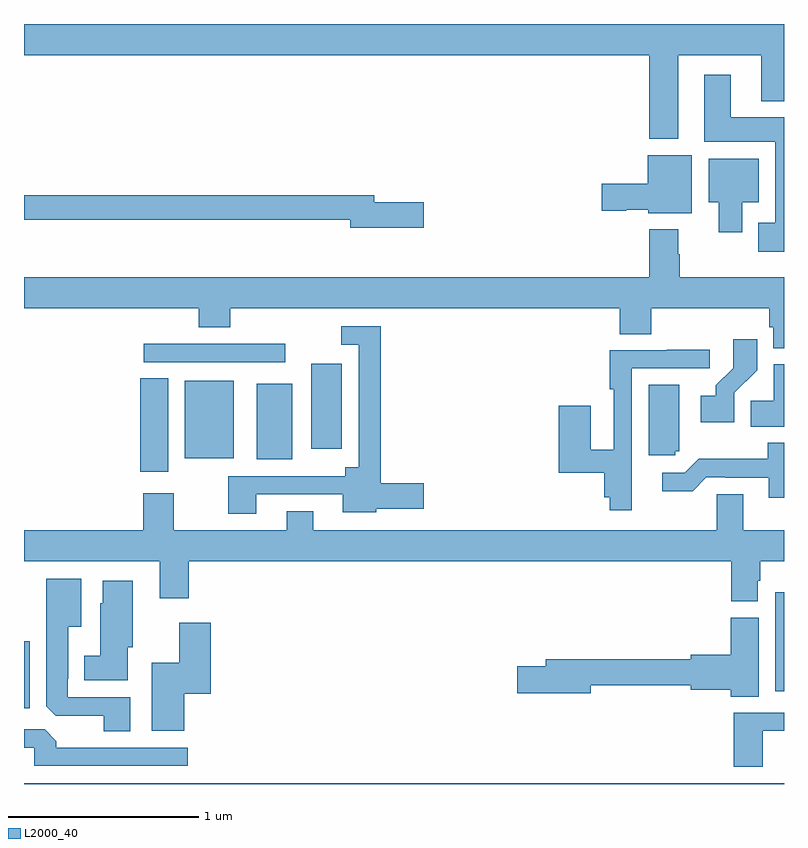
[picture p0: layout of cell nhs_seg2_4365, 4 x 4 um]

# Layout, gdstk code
import gdstk
lib = gdstk.Library(unit=1e-6, precision=1e-09)
def R(c, l, rs):  # rectangles x0, y0, x1, y1
    for r in rs: c.add(gdstk.rectangle(r[:2], r[2:], *l))
def P(c, l, *ps):  # polygons
    for p in ps: c.add(gdstk.Polygon(p, *l))
L2000_40 = (2000, 40)

nhs_seg2_4365 = lib.new_cell('nhs_seg2_4365')
R(nhs_seg2_4365, L2000_40, [(347,643.8,351,643.804), (347,644.198,347.029,644.551), (350.954,644.288,351,644.809), (347.612,645.444,347.758,645.935), (348.224,645.509,348.412,645.907), (347.846,645.515,348.103,645.922), (348.512,645.564,348.673,646.012), (347.631,646.02,348.376,646.116)])
P(nhs_seg2_4365, L2000_40, [(350.443,647.636),(350.879,647.636),(350.879,647.393),(351,647.393),(351,647.8),(347,647.8),(347,647.636),(350.291,647.636),(350.291,647.195),(350.443,647.195)],
  [(351,647.308),(350.719,647.308),(350.719,647.533),(350.579,647.533),(350.579,647.18),(350.954,647.18),(350.954,646.753),(350.864,646.753),(350.864,646.601),(351,646.601)],
  [(350.515,647.11),(350.282,647.11),(350.282,646.958),(350.04,646.958),(350.04,646.816),(350.169,646.816),(350.169,646.823),(350.286,646.823),(350.286,646.805),(350.515,646.805)],
  [(350.779,646.862),(350.866,646.862),(350.866,647.092),(350.603,647.092),(350.603,646.862),(350.657,646.862),(350.657,646.704),(350.779,646.704)],
  [(349.105,646.862),(348.844,646.862),(348.844,646.898),(347,646.898),(347,646.77),(348.716,646.77),(348.716,646.727),(349.105,646.727)],
  [(351,646.468),(350.451,646.468),(350.451,646.589),(350.443,646.589),(350.443,646.72),(350.291,646.72),(350.291,646.468),(347,646.468),(347,646.304),(347.921,646.304),(347.921,646.205),(348.086,646.205),(348.086,646.304),(350.135,646.304),(350.135,646.168),(350.3,646.168),(350.3,646.304),(350.923,646.304),(350.923,646.203),(350.943,646.203),(350.943,646.094),(351,646.094)],
  [(348.223,645.324),(348.677,645.324),(348.677,645.23),(348.855,645.23),(348.855,645.248),(349.105,645.248),(349.105,645.383),(348.878,645.383),(348.878,646.209),(348.669,646.209),(348.669,646.113),(348.762,646.113),(348.762,645.466),(348.692,645.466),(348.692,645.42),(348.076,645.42),(348.076,645.222),(348.223,645.222)],
  [(350.739,645.859),(350.858,645.978),(350.858,646.141),(350.733,646.141),(350.733,645.989),(350.642,645.899),(350.642,645.844),(350.562,645.844),(350.562,645.704),(350.739,645.704)],
  [(350.199,645.987),(350.608,645.987),(350.608,646.086),(350.383,646.086),(350.383,646.083),(350.083,646.083),(350.083,645.877),(350.103,645.877),(350.103,645.56),(349.984,645.56),(349.984,645.79),(349.814,645.79),(349.814,645.437),(350.054,645.437),(350.054,645.308),(350.083,645.308),(350.083,645.24),(350.199,645.24)],
  [(351,646.009),(350.945,646.009),(350.945,645.818),(350.824,645.818),(350.824,645.68),(351,645.68)],
  [(350.427,645.552),(350.449,645.552),(350.449,645.901),(350.288,645.901),(350.288,645.531),(350.427,645.531)],
  [(351,645.595),(350.914,645.595),(350.914,645.511),(350.551,645.511),(350.478,645.438),(350.358,645.438),(350.358,645.341),(350.519,645.341),(350.592,645.414),(350.692,645.414),(350.692,645.411),(350.921,645.411),(350.921,645.306),(351,645.306)],
  [(347.787,645.331),(347.627,645.331),(347.627,645.136),(347,645.136),(347,644.972),(347.714,644.972),(347.714,644.778),(347.867,644.778),(347.867,644.972),(350.723,644.972),(350.723,644.761),(350.863,644.761),(350.863,644.871),(350.876,644.871),(350.876,644.972),(351,644.972),(351,645.136),(350.785,645.136),(350.785,645.326),(350.646,645.326),(350.646,645.136),(348.523,645.136),(348.523,645.235),(348.383,645.235),(348.383,645.136),(347.787,645.136)],
  [(347.56,644.256),(347.229,644.256),(347.229,644.353),(347.233,644.353),(347.233,644.627),(347.302,644.627),(347.302,644.881),(347.117,644.881),(347.117,644.209),(347.166,644.16),(347.42,644.16),(347.42,644.077),(347.56,644.077)],
  [(347.545,644.52),(347.572,644.52),(347.572,644.869),(347.414,644.869),(347.414,644.751),(347.402,644.751),(347.402,644.476),(347.318,644.476),(347.318,644.345),(347.545,644.345)],
  [(350.866,644.676),(350.72,644.676),(350.72,644.48),(350.51,644.48),(350.51,644.456),(349.745,644.456),(349.745,644.42),(349.596,644.42),(349.596,644.278),(349.984,644.278),(349.984,644.32),(350.51,644.32),(350.51,644.297),(350.72,644.297),(350.72,644.26),(350.866,644.26)],
  [(347.843,644.276),(347.984,644.276),(347.984,644.65),(347.816,644.65),(347.816,644.439),(347.672,644.439),(347.672,644.079),(347.843,644.079)],
  [(350.887,644.079),(351,644.079),(351,644.175),(350.735,644.175),(350.735,643.89),(350.887,643.89)],
  [(347.863,643.992),(347.171,643.992),(347.171,644.026),(347.109,644.088),(347,644.088),(347,643.992),(347.055,643.992),(347.055,643.896),(347.863,643.896)])

lib.write_gds('nhs_seg2_4365.gds')
